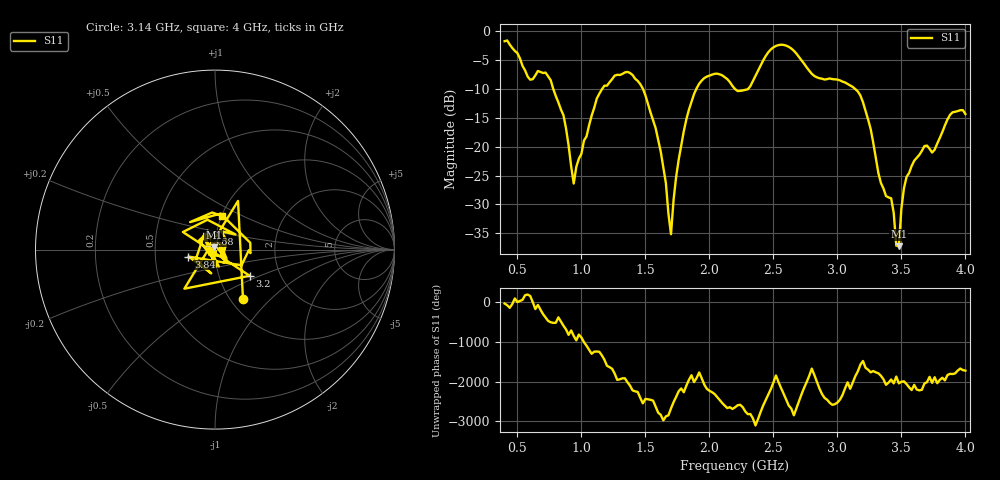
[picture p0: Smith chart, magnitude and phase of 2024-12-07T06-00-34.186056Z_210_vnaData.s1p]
!Created with skrf (http://scikit-rf.org).
# Hz S RI R 50.0
!freq ReS11 ImS11
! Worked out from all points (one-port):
!   181 points, 400 MHz to 4 GHz, reference 50 ohm
!   lowest |S11| = -37.2 dB at 3.48 GHz (marker M1), VSWR 1.03, Z = 49.3 + j1.18 ohm
!   |S11| at or under -10 dB: 779.9 MHz to 1.162 GHz (382.3 MHz wide, 39.4 % of centre); 1.481 GHz to 1.898 GHz (417.1 MHz wide, 24.7 % of centre); 3.138 GHz to end of sweep (the widest 3 of 4)
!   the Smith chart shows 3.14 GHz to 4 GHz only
!   S11 on the Smith chart (normalised r, x): 3.14 GHz: 1.14, -0.69; 3.2 GHz: 1.40, -0.43; 3.68 GHz: 0.90, +0.16; 3.84 GHz: 0.74, -0.06; 4 GHz: 1.00, +0.39
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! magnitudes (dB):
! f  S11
! 400 MHz  -1.8
! 600 MHz  -8.4
! 720 MHz  -7.2
! 860 MHz  -14.6
! 940 MHz  -26.4
! 1.12 GHz  -11.7
! 1.3 GHz  -7.6
! 1.5 GHz  -11.1
! 1.62 GHz  -20.9
! 1.7 GHz  -35.2
! 1.76 GHz  -22.3
! 1.92 GHz  -9.1
! 2.2 GHz  -10.0
! 2.5 GHz  -2.8
! 2.66 GHz  -3.4
! 3.1 GHz  -9.4
! 3.14 GHz  -10.0
! 3.2 GHz  -12.3
! 3.34 GHz  -26.3
! 3.42 GHz  -28.9
! 3.46 GHz  -37.1
! 3.48 GHz  -37.2
! 3.52 GHz  -27.2
! 3.56 GHz  -24.6
! 3.68 GHz  -19.9
! 3.74 GHz  -21.0
! 3.84 GHz  -16.3
! 4 GHz  -14.3
